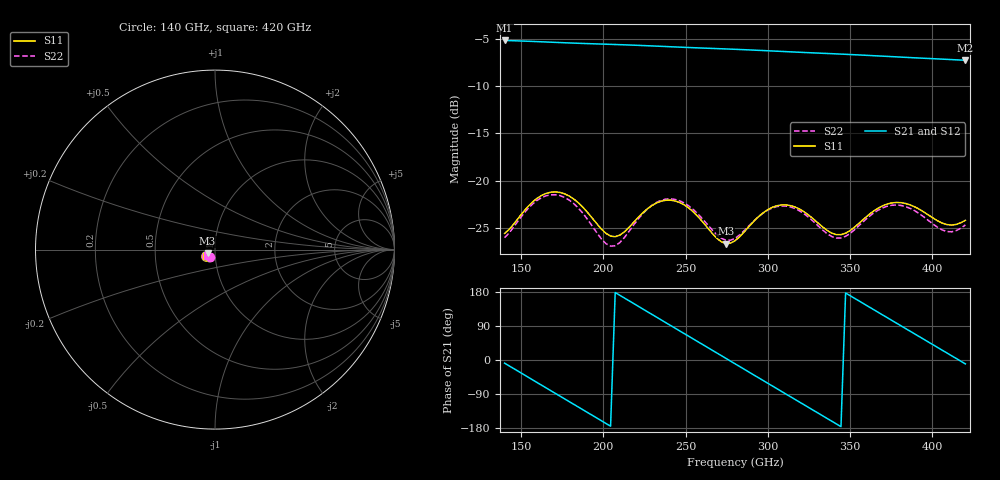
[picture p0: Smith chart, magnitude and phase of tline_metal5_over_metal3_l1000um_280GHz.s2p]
#  GHZ S DB R 50
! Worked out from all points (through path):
!   101 points, 140 GHz to 420 GHz, reference 50 ohm
!   highest |S21| = -5.20 dB at 140 GHz (marker M1); lowest = -7.3 dB at 420 GHz (marker M2)
!   group delay of S21, straight-line fit = 7.16 ps
!   lowest |S11| = -26.7 dB at 274.4 GHz (marker M3), VSWR 1.10, Z = 46 - j1.97 ohm
!   |S11| at or under -10 dB: start of sweep to end of sweep
!   |S22| runs from -26.9 to -21.5 dB; largest |S21 - S12| = 8.7e-14
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140  -25.58 -129.3  -5.20 -8.3  -5.20 -8.3  -26.03 -127.3
151.2  -23.34 -122.3  -5.27 -37.3  -5.27 -37.3  -23.58 -120.8
165.2  -21.36 -134.2  -5.37 -73.5  -5.37 -73.5  -21.61 -134.0
176.4  -21.40 -148.0  -5.45 -102.5  -5.45 -102.5  -21.78 -148.3
187.6  -22.82 -158.4  -5.52 -131.3  -5.52 -131.3  -23.47 -158.9
201.6  -25.58 -154.4  -5.60 -167.4  -5.60 -167.4  -26.67 -151.6
210  -25.77 -142.2  -5.65 170.8  -5.65 170.8  -26.56 -135.8
221.2  -23.89 -135.5  -5.72 141.8  -5.72 141.8  -24.06 -129.1
235.2  -22.18 -145.1  -5.83 105.6  -5.83 105.6  -22.08 -140.5
252  -22.92 -161.7  -5.95 62.3  -5.95 62.3  -22.69 -158.5
274.4  -26.66 -152.7  -6.10 4.6  -6.10 4.6  -26.29 -152.3
280  -26.36 -143.9  -6.14 -9.9  -6.14 -9.9  -26.10 -144.4
291.2  -24.35 -137.3  -6.22 -38.9  -6.22 -38.9  -24.31 -138.2
305.2  -22.67 -145.8  -6.34 -75.0  -6.34 -75.0  -22.76 -146.5
316.4  -22.79 -155.5  -6.43 -103.8  -6.43 -103.8  -22.95 -156.2
327.6  -24.05 -160.9  -6.52 -132.6  -6.52 -132.6  -24.32 -161.4
338.8  -25.55 -155.4  -6.60 -161.5  -6.60 -161.5  -25.91 -155.2
350  -25.28 -143.1  -6.69 169.7  -6.69 169.7  -25.58 -142.1
375.2  -22.36 -148.0  -6.91 104.8  -6.91 104.8  -22.61 -147.8
394.8  -23.33 -159.4  -7.08 54.5  -7.08 54.5  -23.85 -159.2
408.8  -24.65 -154.2  -7.20 18.5  -7.20 18.5  -25.39 -151.6
420  -24.20 -145.6  -7.30 -10.3  -7.30 -10.3  -24.69 -140.6
